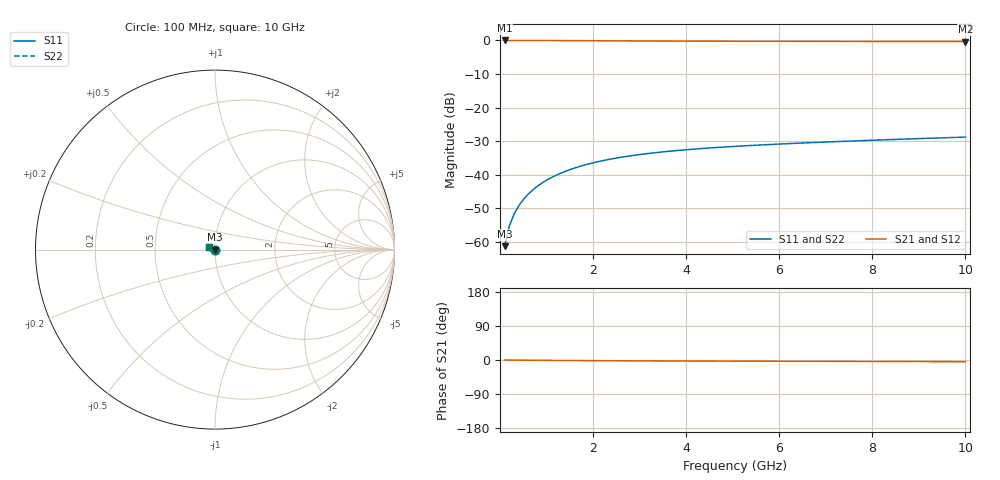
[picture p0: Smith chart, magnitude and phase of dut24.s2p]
! Touchstone file exported from HFSS 2024.1.0
!  File:  C:/UserFiles/LocalFiles/RDL_TSV_Batchsim/temp_TSV1_24_1779369439.aedt
!  Generated:  09:22:50 PM May 21, 2026
!  Design:  TSV1
!  Project:  temp_TSV1_24_1779369439
!  Setup:  Setup1
!  Solution:  Sweep
! Variables:
!  dtsv = 9.03um
!  hbump = 3um
!  htsv = 65.6um
!  lrdl = 252.1521522um
!  p = 40
!  p1 = 56.14um
!  t = 500um
!  trdl = 3um
!  wrdl = 24.89489489um
# GHz S MA R 50.000000
! Terminal data exported
! Port[1] = TSV22_T1
! Port[2] = TSV22_T2
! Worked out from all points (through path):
!   100 points, 100 MHz to 10 GHz, reference 50 ohm
!   highest |S21| = 0.00 dB at 100 MHz (marker M1); lowest = -0.3 dB at 10 GHz (marker M2)
!   lowest |S11| = -61.3 dB at 100 MHz (marker M3), VSWR 1.00, Z = 50 - j0.0857 ohm
!   |S11| at or under -10 dB: start of sweep to end of sweep
!   |S22| runs from -61.3 to -28.8 dB; largest |S21 - S12| = 4.1e-15
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0.1  0.0008658 -81.7  0.9998 -0.1  0.9998 -0.1  0.0008658 -81.7
! Gamma 0 0 0 0
! Port Impedance 50 0 50 0
0.2  0.001717 -88.8  0.9997 -0.2  0.9997 -0.2  0.001717 -88.8
0.3  0.002571 -92.7  0.9995 -0.3  0.9995 -0.3  0.002571 -92.7
0.4  0.00342 -95.7  0.9993 -0.4  0.9993 -0.4  0.00342 -95.7
0.5  0.004261 -98.4  0.999 -0.5  0.999 -0.5  0.004261 -98.4
0.6  0.005093 -100.9  0.9986 -0.6  0.9986 -0.6  0.005093 -100.9
0.7  0.005913 -103.2  0.9982 -0.7  0.9982 -0.7  0.005913 -103.2
0.8  0.00672 -105.5  0.9978 -0.8  0.9978 -0.8  0.00672 -105.5
0.9  0.007513 -107.7  0.9973 -0.9  0.9973 -0.9  0.007513 -107.7
1.1  0.009052 -112.0  0.9962 -1.1  0.9962 -1.1  0.009051 -112.0
1.4  0.01123 -118.0  0.9943 -1.3  0.9943 -1.3  0.01123 -118.0
1.6  0.01258 -121.8  0.9929 -1.5  0.9929 -1.5  0.01258 -121.8
1.8  0.01386 -125.5  0.9915 -1.6  0.9915 -1.6  0.01386 -125.5
2.1  0.01563 -130.8  0.9893 -1.8  0.9893 -1.8  0.01563 -130.8
2.5  0.01774 -137.3  0.9864 -2.0  0.9864 -2.0  0.01774 -137.3
2.9  0.01958 -143.2  0.9837 -2.2  0.9837 -2.2  0.01958 -143.2
3.4  0.02157 -150.0  0.9807 -2.4  0.9807 -2.4  0.02157 -150.0
4.2  0.0242 -159.6  0.9765 -2.7  0.9765 -2.7  0.0242 -159.6
5.1  0.02661 -168.7  0.9729 -3.0  0.9729 -3.0  0.02661 -168.7
6.7  0.03014 178.0  0.9684 -3.5  0.9684 -3.5  0.03014 178.0
8.4  0.03343 166.9  0.9653 -4.0  0.9653 -4.0  0.03343 166.9
10  0.03643 158.2  0.9633 -4.5  0.9633 -4.5  0.03643 158.2
